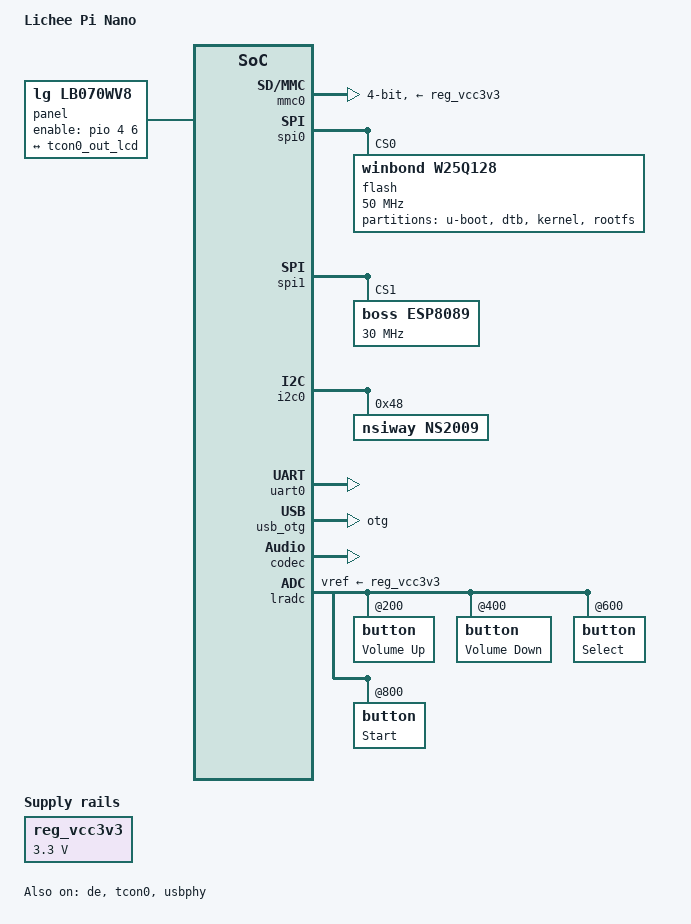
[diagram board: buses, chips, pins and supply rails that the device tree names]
// SPDX-License-Identifier: (GPL-2.0+ OR X11)
/*
 * Copyright 2018 Icenowy Zheng <icenowy@aosc.io>
 */

/dts-v1/;
#include "suniv-f1c100s.dtsi"

#include <dt-bindings/gpio/gpio.h>
#include <dt-bindings/input/input.h>
/ {
	model = "Lichee Pi Nano";
	compatible = "licheepi,licheepi-nano", "allwinner,suniv-f1c100s",
		     "allwinner,suniv";

	aliases {
		serial0 = &uart0;
		spi0 = &spi0;
	};

	chosen {
		stdout-path = "serial0:115200n8";
	};

	panel: panel {
		compatible = "lg,lb070wv8","simple-panel";
		#address-cells = <1>;
		#size-cells = <0>;
		enable-gpios = <&pio 4 6 GPIO_ACTIVE_HIGH>;

		port@0 {
			reg = <0>;
			#address-cells = <1>;
			#size-cells = <0>;

			panel_input: endpoint@0 {
				reg = <0>;
				remote-endpoint = <&tcon0_out_lcd>;
			};
		};
	};

	reg_vcc3v3: vcc3v3 {
		compatible = "regulator-fixed";
		regulator-name = "vcc3v3";
		regulator-min-microvolt = <3300000>;
		regulator-max-microvolt = <3300000>;
	};
};

&de {
	status = "okay";
};

&mmc0 {
	vmmc-supply = <&reg_vcc3v3>;
	bus-width = <4>;
	broken-cd;
	status = "okay";
};

&otg_sram {
	status = "okay";
};

&spi0 {
    pinctrl-names = "default";
    pinctrl-0 = <&spi0_pins_a>;
    status = "okay";
    spi-max-frequency = <50000000>;
    flash: w25q128@0 {
        #address-cells = <1>;
        #size-cells = <1>;
        compatible = "winbond,w25q128", "jedec,spi-nor";
        reg = <0>;   
        spi-max-frequency = <50000000>;
        partitions {
            compatible = "fixed-partitions";
            #address-cells = <1>;
            #size-cells = <1>;

            partition@0 {
                label = "u-boot";
                reg = <0x000000 0x100000>;
                read-only;
            };

            partition@100000 {
                label = "dtb";
                reg = <0x100000 0x10000>;
                read-only;
            };

            partition@110000 {
                label = "kernel";
                reg = <0x110000 0x400000>;
                read-only;
            };

            partition@510000 {
                label = "rootfs";
                reg = <0x510000 0xAF0000>;
            };
        };
    };
};   

&spi1 {
    pinctrl-names = "default";
    pinctrl-0 = <&spi1_pins_a>;
    status = "okay";
	esp8089@0 {
		status = "okay";
            	compatible = "boss,esp8089";
            	spi-cpol;
            	spi-cpha;
            	reg = <1>;
            	spi-max-frequency = <30000000>;
            	reset= <135>; //PE7
            	interrupt= <136>; //PE8
            	debug= <0>;	
	};
};

&i2c0 {
	status = "okay";
	ns2009: ns2009@48 {
	compatible = "nsiway,ns2009";	
	reg = <0x48>;
	};
};

&tcon0 {
	pinctrl-names = "default";
	pinctrl-0 = <&lcd_rgb666_pins>;
	status = "okay";
};

&tcon0_out {
	tcon0_out_lcd: endpoint@0 {
		reg = <0>;
		remote-endpoint = <&panel_input>;
	};
};

&uart0 {
	pinctrl-names = "default";
	pinctrl-0 = <&uart0_pins_a>;
	status = "okay";
};

&usb_otg {
	dr_mode = "otg";
	status = "okay";
};
&usbphy {
	usb0_id_det-gpio = <&pio 4 2 GPIO_ACTIVE_LOW>; /* PE2 */
	status = "okay";
};
&codec {
	allwinner,audio-routing =
		"Headphone", "HP",
		"Headphone", "HPCOM",
		"MIC", "Mic";
	status = "okay";
};
&lradc {
        vref-supply = <&reg_vcc3v3>;
        status = "okay";

        button@200 {
                label = "Volume Up";
                linux,code = <KEY_VOLUMEUP>;
                channel = <0>;
                voltage = <200000>;
        };

        button@400 {
                label = "Volume Down";
                linux,code = <KEY_VOLUMEDOWN>;
                channel = <0>;
                voltage = <400000>;
        };

        button@600 {
                label = "Select";
                linux,code = <KEY_SELECT>;
                channel = <0>;
                voltage = <600000>;
        };

        button@800 {
                label = "Start";
                linux,code = <KEY_OK>;
                channel = <0>;
                voltage = <800000>;
        };
};
